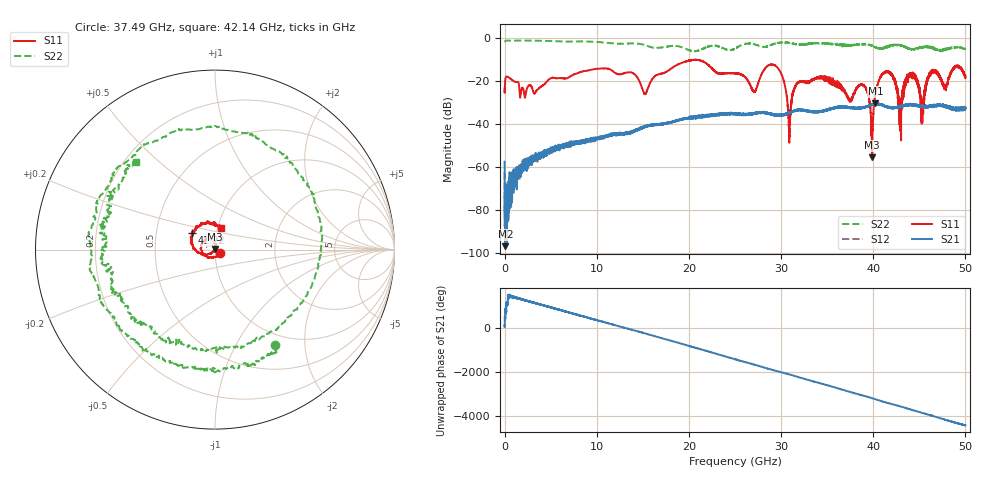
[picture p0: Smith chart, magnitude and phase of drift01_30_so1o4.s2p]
!Created with skrf (http://scikit-rf.org).
# Hz S RI R 50.0
!freq ReS11 ImS11 ReS21 ImS21 ReS12 ImS12 ReS22 ImS22
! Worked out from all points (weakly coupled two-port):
!   10001 points, 300 kHz to 50 GHz, reference 50 ohm
!   highest |S21| = -30.54 dB at 40.23 GHz (marker M1); lowest = -96.8 dB at 90.3 MHz (marker M2)
!   lowest |S11| = -55.6 dB at 39.86 GHz (marker M3), VSWR 1.00, Z = 50 + j0.165 ohm
!   |S11| at or under -10 dB: start of sweep to end of sweep
!   |S22| runs from -6.4 to -1.4 dB; largest |S21 - S12| = 0.004
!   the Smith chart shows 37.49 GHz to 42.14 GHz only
!   S11 on the Smith chart (normalised r, x): 37.49 GHz: 1.05, -0.04; 41.22 GHz: 0.76, +0.14; 42.14 GHz: 1.03, +0.25
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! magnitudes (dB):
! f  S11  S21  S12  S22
! 300 kHz  -23.7  -57.6  -62.5  -2.1
! 90.3 MHz  -19.0  -96.8  -75.6  -1.5
! 8.335 GHz  -15.9  -48.3  -48.5  -1.8
! 16.67 GHz  -17.1  -40.2  -40.3  -4.8
! 25 GHz  -16.6  -35.4  -35.6  -5.1
! 27.1 GHz  -25.2  -35.0  -35.2  -3.1
! 29.42 GHz  -13.2  -35.9  -35.9  -2.8
! 30.91 GHz  -44.1  -35.0  -34.7  -2.6
! 31.66 GHz  -21.7  -33.5  -33.7  -3.2
! 33.34 GHz  -19.8  -34.5  -34.4  -2.7
! 37.49 GHz  -29.4  -32.8  -32.8  -4.0
! 38.97 GHz  -22.1  -32.4  -32.4  -3.2
! 39.86 GHz  -55.6  -31.2  -31.1  -3.7
! 40.23 GHz  -26.1  -30.5  -30.8  -4.5
! 41.22 GHz  -16.1  -31.6  -31.8  -4.4
! 41.67 GHz  -16.2  -32.4  -32.4  -4.0
! 42.14 GHz  -18.2  -32.6  -32.5  -3.7
! 42.92 GHz  -33.5  -32.4  -32.1  -3.6
! 43.96 GHz  -17.8  -31.1  -31.2  -5.2
! 45.31 GHz  -36.1  -32.0  -31.9  -4.4
! 46.42 GHz  -15.6  -31.8  -31.6  -4.7
! 50 GHz  -17.6  -32.8  -32.7  -5.4
